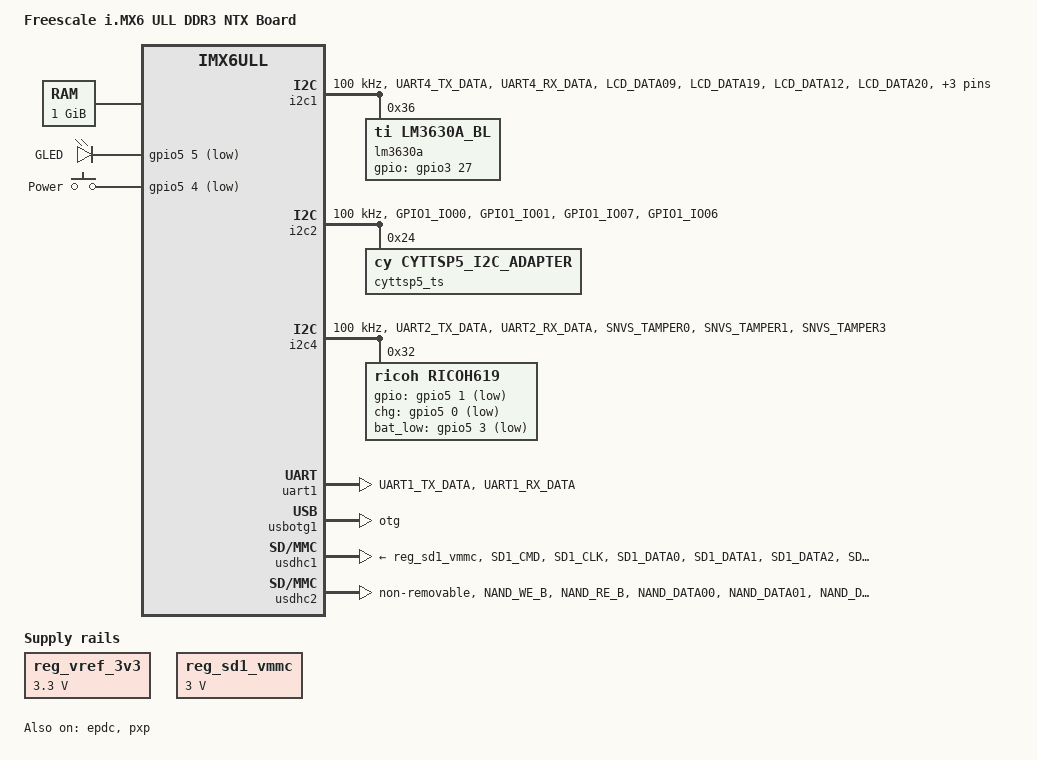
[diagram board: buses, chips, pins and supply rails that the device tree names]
/*
 * Copyright (C) 2016 Freescale Semiconductor, Inc.
 *
 * This program is free software; you can redistribute it and/or modify
 * it under the terms of the GNU General Public License version 2 as
 * published by the Free Software Foundation.
 */

/dts-v1/;

#include <dt-bindings/input/input.h>
#include "imx6ull-ntx.dtsi"

/ {
	model = "Freescale i.MX6 ULL DDR3 NTX Board";
	compatible = "fsl,imx6ull-ddr3-arm2", "fsl,imx6ull";

	chosen {
		stdout-path = &uart1;
	};

	memory {
		reg = <0x80000000 0x40000000>;
	};

	pxp_v4l2 {
		compatible = "fsl,imx6ul-pxp-v4l2", "fsl,imx6sx-pxp-v4l2", "fsl,imx6sl-pxp-v4l2";
		status = "okay";
	};

	aliases {
		mmc0 = &usdhc2;
		mmc1 = &usdhc1;
	};

	regulators {
		compatible = "simple-bus";
		#address-cells = <1>;
		#size-cells = <0>;

		reg_vref_3v3: regulator@1 {
			compatible = "regulator-fixed";
			regulator-name = "vref-3v3";
			regulator-min-microvolt = <3300000>;
			regulator-max-microvolt = <3300000>;
		};
		reg_sd1_vmmc: wifi_regulator {
			compatible = "regulator-fixed";
			regulator-name = "SD1_SPWR";
			regulator-min-microvolt = <3000000>;
			regulator-max-microvolt = <3000000>;
			wifipwr-gpio = <&gpio5 8 GPIO_ACTIVE_LOW>;
			wifirst-gpio = <&gpio5 7 GPIO_ACTIVE_HIGH>;
			wifiint-gpio = <&gpio5 6 GPIO_ACTIVE_HIGH>;
		};
	};

	leds {
		compatible = "gpio-leds";
		pinctrl-names = "default";
		pinctrl-0 = <&pinctrl_snvs_led>;

		user {
			label = "GLED";
			gpios = <&gpio5 5 GPIO_ACTIVE_LOW>;
			linux,default-trigger = "timer";
		};
	};

	gpio-keys {
		compatible = "gpio-keys";
		pinctrl-names = "default";
		pinctrl-0 = <&pinctrl_snvs_gpio_keys>;
		power {
			label = "Power";
			gpios = <&gpio5 4 GPIO_ACTIVE_LOW>;
			btmode0 = <&gpio5 10 GPIO_ACTIVE_LOW>;
			linux,code = <KEY_POWER>;
			gpio-key,wakeup;
		};
	};

	usb_plug {
		compatible = "usb_plug";
	};
	ntx_bl {
		compatible = "ntx_bl";
	};
	ntx_led {
		compatible = "ntx_led";
	};
	ntx_event0 {
		compatible = "ntx_event0";
	};
};

&clks {
	/* For bringup, comments this.
	assigned-clocks = <&clks IMX6UL_CLK_PLL4_AUDIO_DIV>;
	assigned-clock-rates = <786432000>;
	*/
};

&cpu0 {
	/*
	 * on i.MX6ULL, no seperated VDD_ARM_IN and VDD_SOC_IN,
	 * to align with other platform and use the same cpufreq
	 * driver, still use the seperated OPP define for arm
	 * and soc.
	 */
	operating-points = <
		/* kHz	uV */
		900000  1250000
		792000	1200000
		528000	1175000
		396000	1175000
		198000	1175000
	>;
	fsl,soc-operating-points = <
		/* KHz	uV */
		900000  1250000
		792000	1200000
		528000	1175000
		396000	1175000
		198000	1175000
	>;
	arm-supply = <&reg_arm>;
	soc-supply = <&reg_soc>;
/*	arm-supply = <&ricoh619_dcdc1_reg>;*/
/*	soc-supply = <&ricoh619_dcdc1_reg>;*/
/*	fsl,arm-soc-shared = <1>; */
};

&csi {
	status = "disabled";
};

&epdc {
	pinctrl-names = "default";
	pinctrl-0 = <&pinctrl_epdc0>;
	V3P3-supply = <&V3P3_reg>;
	VCOM-supply = <&VCOM_reg>;
	DISPLAY-supply = <&DISPLAY_reg>;
	TMST-supply = <&TMST_reg>;
	status = "okay";
};

&fec1 {
	status = "disabled";
};

&gpc {
	fsl,cpu_pupscr_sw2iso = <0x1>;
	fsl,cpu_pupscr_sw = <0x0>;
	fsl,cpu_pdnscr_iso2sw = <0x1>;
	fsl,cpu_pdnscr_iso = <0x1>;
	fsl,ldo-bypass = <0>; /* use ldo-bypass, u-boot will check it and configure */
};

&gpmi {
	pinctrl-names = "default";
	pinctrl-0 = <&pinctrl_gpmi_nand_1>;
	status = "disabled";
	nand-on-flash-bbt;
};

&i2c1 {
	clock-frequency = <100000>;
	pinctrl-names = "default","sleep";
	pinctrl-0 = <&pinctrl_i2c1 &pinctrl_tps65185_gpio &pinctrl_lm3630a_bl_gpio>;
	pinctrl-1 = <&pinctrl_i2c1_sleep &pinctrl_tps65185_gpio_sleep>;
	status = "okay";

    lm3630a: lm3630a-i2c@36 {
        reg = <0x36>;
        compatible = "ti,lm3630a_bl";
        gpios = <&gpio3 27 0>;
    };
};

&i2c2 {
	clock-frequency = <100000>;
	pinctrl-names = "default","sleep";
	pinctrl-0 = <&pinctrl_i2c2 &pinctrl_elan_ts_gpio>;
	pinctrl-1 = <&pinctrl_i2c2_sleep &pinctrl_elan_ts_gpio_sleep>;
	status = "okay";

	cyttsp5_ts@24 {
        compatible = "cy,cyttsp5_i2c_adapter";
        reg = <0x24>;

        cy,adapter_id = "cyttsp5_i2c_adapter";

        cy,core {
            cy,name = "cyttsp5_core";

            cy,irq_gpio = <7>;    /* <&gpio1 7 0>; */
            cy,rst_gpio = <6>;    /* <&gpio1 6 0>; */

            cy,hid_desc_register = <1>;
            /*CY_CORE_FLAG_RESTORE_PARAMETERS */
            //cy,flags = <4>;
            /* CY_CORE_EWG_NONE */
            cy,easy_wakeup_gesture = <0>;
            cy,btn_keys = <172 /* KEY_HOMEPAGE */
                       /* previously was KEY_HOME, new Android versions use KEY_HOMEPAGE */
                       139 /* KEY_MENU */
                       158 /* KEY_BACK */
                       217 /* KEY_SEARCH */
                       114 /* KEY_VOLUMEDOWN */
                       115 /* KEY_VOLUMEUP */
                       212 /* KEY_CAMERA */
                       116>; /* KEY_POWER */
            cy,btn_keys-tag = <0>;

            cy,mt {
                cy,name = "cyttsp5_mt";

                cy,inp_dev_name = "cyttsp5_mt";
                /* CY_MT_FLAG_INV_Y*/
                /* cy,flags = <0x20>; */
                cy,abs =
                    /* ABS_MT_POSITION_X, CY_ABS_MIN_X, CY_ABS_MAX_X, 0, 0 */
                    <0x35 0 880 0 0
                    /* ABS_MT_POSITION_Y, CY_ABS_MIN_Y, CY_ABS_MAX_Y, 0, 0 */
                    0x36 0 1280 0 0
                    /* ABS_MT_PRESSURE, CY_ABS_MIN_P, CY_ABS_MAX_P, 0, 0 */
                    0x3a 0 255 0 0
                    /* CY_IGNORE_VALUE, CY_ABS_MIN_W, CY_ABS_MAX_W, 0, 0 */
                    0xffff 0 255 0 0
                    /* ABS_MT_TRACKING_ID, CY_ABS_MIN_T, CY_ABS_MAX_T, 0, 0 */
                    0x39 0 15 0 0
                    /* ABS_MT_TOUCH_MAJOR, 0, 255, 0, 0 */
                    0x30 0 255 0 0
                    /* ABS_MT_TOUCH_MINOR, 0, 255, 0, 0 */
                    0x31 0 255 0 0
                    /* ABS_MT_ORIENTATION, -127, 127, 0, 0 */
                    0x34 0xffffff81 127 0 0
                    /* ABS_MT_TOOL_TYPE, 0, MT_TOOL_MAX, 0, 0 */
                    0x37 0 1 0 0
                    /* ABS_MT_DISTANCE, 0, 255, 0, 0 */
                    0x3b 0 255 0 0>;

                cy,vkeys_x = <720>;
                cy,vkeys_y = <1280>;

                cy,virtual_keys = /* KeyCode CenterX CenterY Width Height */
                    /* KEY_BACK */
                    <158 1360 90 160 180
                    /* KEY_MENU */
                    139 1360 270 160 180
                    /* KEY_HOMEPAGE */
                    172 1360 450 160 180
                    /* KEY SEARCH */
                    217 1360 630 160 180>;
            };

            cy,btn {
                cy,name = "cyttsp5_btn";

                cy,inp_dev_name = "cyttsp5_btn";
            };

            cy,proximity {
                cy,name = "cyttsp5_proximity";

                cy,inp_dev_name = "cyttsp5_proximity";
                cy,abs =
                    /* ABS_DISTANCE, CY_PROXIMITY_MIN_VAL, CY_PROXIMITY_MAX_VAL, 0, 0 */
                    <0x19 0 1 0 0>;
            };
        };
    };
};

&i2c4 {
	clock-frequency = <100000>;
	pinctrl-names = "default";
	pinctrl-0 = <&pinctrl_i2c4 &pinctrl_ricoh_gpio>;
	status = "okay";

	ricoh619: ricoh619-i2c@32 {
		reg = <0x32>;
		compatible = "ricoh,ricoh619";
		gpios = <&gpio5 1 GPIO_ACTIVE_LOW>;
		gpio_chg = <&gpio5 0 GPIO_ACTIVE_LOW>;
		gpio_bat_low = <&gpio5 3 GPIO_ACTIVE_LOW>;
		battery {
			ricoh,fg-sus-curr = <5390>;
			ricoh,fg-hiber-curr = <2080>;
		};
	};
};

#include "ricoh619_mx6ull_lpddr3.dtsi"

&iomuxc {
	pinctrl-names = "default", "sleep";

	imx6ul-ddr3-arm2 {
		pinctrl_adc1: adc1grp {
			fsl,pins = <
				MX6UL_PAD_GPIO1_IO00__GPIO1_IO00        0xb0
				MX6UL_PAD_GPIO1_IO01__GPIO1_IO01        0xb0
			>;
		};


		pinctrl_csi1: csi1grp {
			fsl,pins = <
				MX6UL_PAD_CSI_MCLK__CSI_MCLK		0x1b088
				MX6UL_PAD_CSI_PIXCLK__CSI_PIXCLK	0x1b088
				MX6UL_PAD_CSI_VSYNC__CSI_VSYNC		0x1b088
				MX6UL_PAD_CSI_HSYNC__CSI_HSYNC		0x1b088
				MX6UL_PAD_CSI_DATA00__CSI_DATA02	0x1b088
				MX6UL_PAD_CSI_DATA01__CSI_DATA03	0x1b088
				MX6UL_PAD_CSI_DATA02__CSI_DATA04	0x1b088
				MX6UL_PAD_CSI_DATA03__CSI_DATA05	0x1b088
				MX6UL_PAD_CSI_DATA04__CSI_DATA06	0x1b088
				MX6UL_PAD_CSI_DATA05__CSI_DATA07	0x1b088
				MX6UL_PAD_CSI_DATA06__CSI_DATA08	0x1b088
				MX6UL_PAD_CSI_DATA07__CSI_DATA09	0x1b088
			>;
		};

		pinctrl_ecspi1_cs_1: ecspi1_cs_grp-1 {
			fsl,pins = <
				MX6UL_PAD_CSI_DATA05__GPIO4_IO26  0x10b0
			>;
		};

		pinctrl_ecspi1_1: ecspi1grp-1 {
			fsl,pins = <
				MX6UL_PAD_CSI_DATA06__ECSPI1_MOSI 0x10b0
				MX6UL_PAD_CSI_DATA07__ECSPI1_MISO 0x10b0
				MX6UL_PAD_CSI_DATA04__ECSPI1_SCLK 0x10b0
			>;
		};

		pinctrl_enet1: enet1grp {
			fsl,pins = <
				MX6UL_PAD_ENET1_RX_EN__ENET1_RX_EN		0x1b0b0
				MX6UL_PAD_ENET1_RX_ER__ENET1_RX_ER		0x1b0b0
				MX6UL_PAD_ENET1_RX_DATA0__ENET1_RDATA00	0x1b0b0
				MX6UL_PAD_ENET1_RX_DATA1__ENET1_RDATA01	0x1b0b0
				MX6UL_PAD_ENET1_TX_EN__ENET1_TX_EN		0x1b0b0
				MX6UL_PAD_ENET1_TX_DATA0__ENET1_TDATA00	0x1b0b0
				MX6UL_PAD_ENET1_TX_DATA1__ENET1_TDATA01	0x1b0b0
				MX6UL_PAD_ENET1_TX_CLK__ENET1_REF_CLK1	0x4001b0a0
			>;
		};

		pinctrl_enet2: enet2grp {
			fsl,pins = <
				MX6UL_PAD_GPIO1_IO07__ENET2_MDC			0x1b098
				MX6UL_PAD_GPIO1_IO06__ENET2_MDIO		0x1b0b0
				MX6UL_PAD_ENET2_TX_DATA0__ENET2_TDATA00	0x1b0a0
				MX6UL_PAD_ENET2_TX_DATA1__ENET2_TDATA01	0x1b0a0
				MX6UL_PAD_UART4_TX_DATA__ENET2_TDATA02	0x1b0a0
				MX6UL_PAD_UART4_RX_DATA__ENET2_TDATA03	0x1b0a0
				MX6UL_PAD_ENET2_TX_CLK__ENET2_TX_CLK	0x4001b0a8
				MX6UL_PAD_ENET2_TX_EN__ENET2_TX_EN		0x1b0b0
				MX6UL_PAD_ENET2_RX_DATA0__ENET2_RDATA00	0x1b0b0
				MX6UL_PAD_ENET2_RX_DATA1__ENET2_RDATA01	0x1b0b0
				MX6UL_PAD_UART3_TX_DATA__ENET2_RDATA02	0x1b0b0
				MX6UL_PAD_UART3_RX_DATA__ENET2_RDATA03	0x1b0b0
				MX6UL_PAD_ENET2_RX_EN__ENET2_RX_EN		0x1b0b0
				MX6UL_PAD_ENET2_RX_ER__ENET2_RX_ER		0x1b0b0
				MX6UL_PAD_UART3_CTS_B__ENET2_RX_CLK		0x4001b0a8
				MX6UL_PAD_UART5_RX_DATA__ENET2_COL		0x1b0b0
				MX6UL_PAD_UART5_TX_DATA__ENET2_CRS		0x1b0b0
			>;
		};

        pinctrl_epdc0: epdcgrp0 {
            fsl,pins = <
				MX6UL_PAD_ENET2_RX_DATA0__EPDC_SDDO08	0x10b1
				MX6UL_PAD_ENET2_RX_DATA1__EPDC_SDDO09	0x10b1
				MX6UL_PAD_ENET2_RX_EN__EPDC_SDDO10   	0x10b1
				MX6UL_PAD_ENET2_TX_DATA0__EPDC_SDDO11	0x10b1
				MX6UL_PAD_ENET2_TX_DATA1__EPDC_SDDO12	0x10b1
				MX6UL_PAD_ENET2_TX_EN__EPDC_SDDO13   	0x10b1
				MX6UL_PAD_ENET2_TX_CLK__EPDC_SDDO14  	0x10b1
				MX6UL_PAD_ENET2_RX_ER__EPDC_SDDO15   	0x10b1
				MX6UL_PAD_LCD_CLK__EPDC_SDCLK        	0x10b1
				MX6UL_PAD_LCD_ENABLE__EPDC_SDLE      	0x10b1
				MX6UL_PAD_LCD_HSYNC__EPDC_SDOE       	0x10b1
				MX6UL_PAD_LCD_VSYNC__EPDC_SDCE0      	0x10b1
				MX6UL_PAD_LCD_DATA00__EPDC_SDDO00    	0x10b1
				MX6UL_PAD_LCD_DATA01__EPDC_SDDO01    	0x10b1
				MX6UL_PAD_LCD_DATA02__EPDC_SDDO02    	0x10b1
				MX6UL_PAD_LCD_DATA03__EPDC_SDDO03    	0x10b1
				MX6UL_PAD_LCD_DATA04__EPDC_SDDO04    	0x10b1
				MX6UL_PAD_LCD_DATA05__EPDC_SDDO05    	0x10b1
				MX6UL_PAD_LCD_DATA06__EPDC_SDDO06    	0x10b1
				MX6UL_PAD_LCD_DATA07__EPDC_SDDO07    	0x10b1
				MX6UL_PAD_LCD_DATA14__EPDC_SDSHR     	0x10b1
				MX6UL_PAD_LCD_DATA15__EPDC_GDRL      	0x10b1
				MX6UL_PAD_LCD_DATA16__EPDC_GDCLK     	0x10b1
				MX6UL_PAD_LCD_DATA17__EPDC_GDSP      	0x10b1
				MX6UL_PAD_LCD_RESET__EPDC_GDOE       	0x10b1
            >;
        };

		pinctrl_esai: esaigrp {
			fsl,pins = <
				MX6UL_PAD_CSI_DATA00__ESAI_TX_HF_CLK     0x1b0b0
				MX6UL_PAD_CSI_DATA01__ESAI_RX_HF_CLK     0x1b0b0
				MX6UL_PAD_CSI_DATA04__ESAI_TX_FS         0x1b0b0
				MX6UL_PAD_CSI_DATA05__ESAI_TX_CLK        0x1b0b0
				MX6UL_PAD_CSI_DATA07__ESAI_T0            0x1b0b0
				MX6UL_PAD_CSI_HSYNC__ESAI_TX1            0x1b0b0
				MX6UL_PAD_CSI_PIXCLK__ESAI_TX2_RX3       0x1b0b0
				MX6UL_PAD_CSI_MCLK__ESAI_TX3_RX2         0x1b0b0
				MX6UL_PAD_CSI_DATA02__ESAI_RX_FS         0x1b0b0
				MX6UL_PAD_CSI_DATA03__ESAI_RX_CLK        0x1b0b0
				MX6UL_PAD_CSI_DATA06__ESAI_TX5_RX0       0x1b0b0
				MX6UL_PAD_CSI_VSYNC__ESAI_TX4_RX1        0x1b0b0
			>;
		};

		pinctrl_flexcan2: flexcan2grp{
			fsl,pins = <
				MX6UL_PAD_UART2_RTS_B__FLEXCAN2_RX	0x1b020
				MX6UL_PAD_UART2_CTS_B__FLEXCAN2_TX	0x1b020
				MX6UL_PAD_JTAG_TRST_B__GPIO1_IO15	0x17059	/* STBY */
			>;
		};

		pinctrl_gpmi_nand_1: gpmi-nand-1 {
			fsl,pins = <
				MX6UL_PAD_NAND_CLE__RAWNAND_CLE         0xb0b1
				MX6UL_PAD_NAND_ALE__RAWNAND_ALE         0xb0b1
				MX6UL_PAD_NAND_WP_B__RAWNAND_WP_B       0xb0b1
				MX6UL_PAD_NAND_READY_B__RAWNAND_READY_B 0xb000
				MX6UL_PAD_NAND_CE0_B__RAWNAND_CE0_B     0xb0b1
				MX6UL_PAD_NAND_CE1_B__RAWNAND_CE1_B     0xb0b1
				MX6UL_PAD_NAND_RE_B__RAWNAND_RE_B       0xb0b1
				MX6UL_PAD_NAND_WE_B__RAWNAND_WE_B       0xb0b1
				MX6UL_PAD_NAND_DATA00__RAWNAND_DATA00   0xb0b1
				MX6UL_PAD_NAND_DATA01__RAWNAND_DATA01   0xb0b1
				MX6UL_PAD_NAND_DATA02__RAWNAND_DATA02   0xb0b1
				MX6UL_PAD_NAND_DATA03__RAWNAND_DATA03   0xb0b1
				MX6UL_PAD_NAND_DATA04__RAWNAND_DATA04   0xb0b1
				MX6UL_PAD_NAND_DATA05__RAWNAND_DATA05   0xb0b1
				MX6UL_PAD_NAND_DATA06__RAWNAND_DATA06   0xb0b1
				MX6UL_PAD_NAND_DATA07__RAWNAND_DATA07   0xb0b1
			>;
		};

		pinctrl_i2c1: i2c1grp {
			fsl,pins = <
				MX6UL_PAD_UART4_TX_DATA__I2C1_SCL	0x4001F8b0
				MX6UL_PAD_UART4_RX_DATA__I2C1_SDA	0x4001F8b0
			>;
		};

		pinctrl_i2c1_sleep: i2c1grp_sleep {
			fsl,pins = <
				MX6UL_PAD_UART4_TX_DATA__I2C1_SCL	0x400108b0
				MX6UL_PAD_UART4_RX_DATA__I2C1_SDA	0x400108b0
			>;
		};

		pinctrl_i2c2: i2c2grp {
			fsl,pins = <
				MX6UL_PAD_GPIO1_IO00__I2C2_SCL	0x4001F8b0
				MX6UL_PAD_GPIO1_IO01__I2C2_SDA	0x4001F8b0
			>;
		};

		pinctrl_i2c2_sleep: i2c2grp_sleep {
			fsl,pins = <
				MX6UL_PAD_GPIO1_IO00__I2C2_SCL	0x400108b0
				MX6UL_PAD_GPIO1_IO01__I2C2_SDA	0x400108b0
			>;
		};

		pinctrl_i2c4: i2c4grp {
			fsl,pins = <
				MX6UL_PAD_UART2_TX_DATA__I2C4_SCL	0x4001F8b0
				MX6UL_PAD_UART2_RX_DATA__I2C4_SDA	0x4001F8b0
			>;
		};

		pinctrl_i2c4_sleep: i2c4grp_sleep {
			fsl,pins = <
				MX6UL_PAD_UART2_TX_DATA__I2C4_SCL	0x400108b0
				MX6UL_PAD_UART2_RX_DATA__I2C4_SDA	0x400108b0
			>;
		};

		pinctrl_lcdif_dat: lcdifdatgrp {
			fsl,pins = <
				MX6UL_PAD_LCD_DATA00__LCDIF_DATA00  0x79
				MX6UL_PAD_LCD_DATA01__LCDIF_DATA01  0x79
				MX6UL_PAD_LCD_DATA02__LCDIF_DATA02  0x79
				MX6UL_PAD_LCD_DATA03__LCDIF_DATA03  0x79
				MX6UL_PAD_LCD_DATA04__LCDIF_DATA04  0x79
				MX6UL_PAD_LCD_DATA05__LCDIF_DATA05  0x79
				MX6UL_PAD_LCD_DATA06__LCDIF_DATA06  0x79
				MX6UL_PAD_LCD_DATA07__LCDIF_DATA07  0x79
				MX6UL_PAD_LCD_DATA08__LCDIF_DATA08  0x79
				MX6UL_PAD_LCD_DATA09__LCDIF_DATA09  0x79 
				MX6UL_PAD_LCD_DATA10__LCDIF_DATA10  0x79
				MX6UL_PAD_LCD_DATA11__LCDIF_DATA11  0x79 
				MX6UL_PAD_LCD_DATA12__LCDIF_DATA12  0x79
				MX6UL_PAD_LCD_DATA13__LCDIF_DATA13  0x79
				MX6UL_PAD_LCD_DATA14__LCDIF_DATA14  0x79
				MX6UL_PAD_LCD_DATA15__LCDIF_DATA15  0x79
				MX6UL_PAD_LCD_DATA16__LCDIF_DATA16  0x79
				MX6UL_PAD_LCD_DATA17__LCDIF_DATA17  0x79
				MX6UL_PAD_LCD_DATA18__LCDIF_DATA18  0x79
				MX6UL_PAD_LCD_DATA19__LCDIF_DATA19  0x79 
				MX6UL_PAD_LCD_DATA20__LCDIF_DATA20  0x79
				MX6UL_PAD_LCD_DATA21__LCDIF_DATA21  0x79
				MX6UL_PAD_LCD_DATA22__LCDIF_DATA22  0x79
				MX6UL_PAD_LCD_DATA23__LCDIF_DATA23  0x79
			>;
		};

		pinctrl_lcdif_ctrl: lcdifctrlgrp {
			fsl,pins = <
				MX6UL_PAD_LCD_CLK__LCDIF_CLK	    0x79
				MX6UL_PAD_LCD_ENABLE__LCDIF_ENABLE  0x79
				MX6UL_PAD_LCD_HSYNC__LCDIF_HSYNC    0x79
				MX6UL_PAD_LCD_VSYNC__LCDIF_VSYNC    0x79
				MX6UL_PAD_LCD_RESET__LCDIF_RESET    0x79
			>;
		};

		pinctrl_mqs: mqsgrp {
			fsl,pins = <
				MX6UL_PAD_JTAG_TDI__MQS_LEFT         0x11088
				MX6UL_PAD_JTAG_TDO__MQS_RIGHT        0x11088
			>;
		};

		pinctrl_pwm1: pmw1grp {
			fsl,pins = <
				MX6UL_PAD_ENET1_RX_DATA0__PWM1_OUT   0x110b0
			>;
		};

		pinctrl_qspi: qspigrp {
			fsl,pins = <
				MX6UL_PAD_NAND_WP_B__QSPI_A_SCLK      0x70a1
				MX6UL_PAD_NAND_READY_B__QSPI_A_DATA00 0x70a1
				MX6UL_PAD_NAND_CE0_B__QSPI_A_DATA01   0x70a1
				MX6UL_PAD_NAND_CE1_B__QSPI_A_DATA02   0x70a1
				MX6UL_PAD_NAND_CLE__QSPI_A_DATA03     0x70a1
				MX6UL_PAD_NAND_DQS__QSPI_A_SS0_B      0x70a1
#ifdef REWORKED_ENABLE_ALL_QSPI
				MX6UL_PAD_NAND_DATA07__QSPI_A_SS1_B   0x70a1
				MX6UL_PAD_NAND_RE_B__QSPI_B_SCLK      0x70a1
				MX6UL_PAD_NAND_DATA02__QSPI_B_DATA00  0x70a1
				MX6UL_PAD_NAND_DATA03__QSPI_B_DATA01  0x70a1
				MX6UL_PAD_NAND_DATA04__QSPI_B_DATA02  0x70a1
				MX6UL_PAD_NAND_DATA05__QSPI_B_DATA03  0x70a1
				MX6UL_PAD_NAND_WE_B__QSPI_B_SS0_B     0x70a1
				MX6UL_PAD_NAND_DATA00__QSPI_B_SS1_B   0x70a1
#endif
			>;
		};

		pinctrl_sai2: sai2grp {
			fsl,pins = <
				MX6UL_PAD_SD1_DATA0__SAI2_TX_SYNC     0x1b0b0
				MX6UL_PAD_SD1_DATA1__SAI2_TX_BCLK     0x1b0b0
				MX6UL_PAD_SD1_DATA2__SAI2_RX_DATA     0x110b0
				MX6UL_PAD_SD1_DATA3__SAI2_TX_DATA     0x110b0
				MX6UL_PAD_SD1_CLK__SAI2_MCLK          0x1b0b0
			>;
		};

		pinctrl_uart1: uart1grp {
			fsl,pins = <
				MX6UL_PAD_UART1_TX_DATA__UART1_DCE_TX 0x1b0b1
				MX6UL_PAD_UART1_RX_DATA__UART1_DCE_RX 0x1b0b1
			>;
		};

		pinctrl_usb_otg1_id: usbotg1idgrp {
			fsl,pins = <
				MX6UL_PAD_GPIO1_IO00__ANATOP_OTG1_ID	0x17059
			>;
		};

		pinctrl_usb_otg1: usbotg1grp {
			fsl,pins = <
				MX6UL_PAD_GPIO1_IO04__GPIO1_IO04        0x10b0
			>;
		};

		pinctrl_usdhc1: usdhc1grp {
			fsl,pins = <
				MX6UL_PAD_SD1_CMD__USDHC1_CMD     0x11059
				MX6UL_PAD_SD1_CLK__USDHC1_CLK     0x11059
				MX6UL_PAD_SD1_DATA0__USDHC1_DATA0 0x11059
				MX6UL_PAD_SD1_DATA1__USDHC1_DATA1 0x11059
				MX6UL_PAD_SD1_DATA2__USDHC1_DATA2 0x11059
				MX6UL_PAD_SD1_DATA3__USDHC1_DATA3 0x11059
			>;
		};

		pinctrl_usdhc1_sleep: usdhc1grp_sleep {
			fsl,pins = <
				MX6UL_PAD_SD1_CMD__GPIO2_IO16	0x100c1
				MX6UL_PAD_SD1_CLK__GPIO2_IO17	0x100c1
				MX6UL_PAD_SD1_DATA0__GPIO2_IO18	0x100c1
				MX6UL_PAD_SD1_DATA1__GPIO2_IO19	0x100c1
				MX6UL_PAD_SD1_DATA2__GPIO2_IO20	0x100c1
				MX6UL_PAD_SD1_DATA3__GPIO2_IO21	0x100c1
			>;
		};

		pinctrl_usdhc1_100mhz: usdhc1grp100mhz {
			fsl,pins = <
				MX6UL_PAD_SD1_CMD__USDHC1_CMD     0x170b9
				MX6UL_PAD_SD1_CLK__USDHC1_CLK     0x170b9
				MX6UL_PAD_SD1_DATA0__USDHC1_DATA0 0x170b9
				MX6UL_PAD_SD1_DATA1__USDHC1_DATA1 0x170b9
				MX6UL_PAD_SD1_DATA2__USDHC1_DATA2 0x170b9
				MX6UL_PAD_SD1_DATA3__USDHC1_DATA3 0x170b9
			>;
		};

		pinctrl_usdhc1_200mhz: usdhc1grp200mhz {
			fsl,pins = <
				MX6UL_PAD_SD1_CMD__USDHC1_CMD     0x170f9
				MX6UL_PAD_SD1_CLK__USDHC1_CLK     0x170f9
				MX6UL_PAD_SD1_DATA0__USDHC1_DATA0 0x170f9
				MX6UL_PAD_SD1_DATA1__USDHC1_DATA1 0x170f9
				MX6UL_PAD_SD1_DATA2__USDHC1_DATA2 0x170f9
				MX6UL_PAD_SD1_DATA3__USDHC1_DATA3 0x170f9
			>;
		};

		pinctrl_usdhc1_8bit: usdhc1_8bit_grp {
			fsl,pins = <
				MX6UL_PAD_SD1_CMD__USDHC1_CMD     		0x17059
				MX6UL_PAD_SD1_CLK__USDHC1_CLK     		0x10059
				MX6UL_PAD_SD1_DATA0__USDHC1_DATA0 		0x17059
				MX6UL_PAD_SD1_DATA1__USDHC1_DATA1 		0x17059
				MX6UL_PAD_SD1_DATA2__USDHC1_DATA2 		0x17059
				MX6UL_PAD_SD1_DATA3__USDHC1_DATA3 		0x17059
				MX6UL_PAD_NAND_READY_B__USDHC1_DATA4	0x17059
				MX6UL_PAD_NAND_CE0_B__USDHC1_DATA5		0x17059
				MX6UL_PAD_NAND_CE1_B__USDHC1_DATA6		0x17059
				MX6UL_PAD_NAND_CLE__USDHC1_DATA7		0x17059
			>;
		};

		pinctrl_usdhc1_8bit_100mhz: usdhc1_8bit_100mhz_grp {
			fsl,pins = <
				MX6UL_PAD_SD1_CMD__USDHC1_CMD     		0x170b9
				MX6UL_PAD_SD1_CLK__USDHC1_CLK     		0x100b9
				MX6UL_PAD_SD1_DATA0__USDHC1_DATA0 		0x170b9
				MX6UL_PAD_SD1_DATA1__USDHC1_DATA1 		0x170b9
				MX6UL_PAD_SD1_DATA2__USDHC1_DATA2 		0x170b9
				MX6UL_PAD_SD1_DATA3__USDHC1_DATA3 		0x170b9
				MX6UL_PAD_NAND_READY_B__USDHC1_DATA4	0x170b9
				MX6UL_PAD_NAND_CE0_B__USDHC1_DATA5		0x170b9
				MX6UL_PAD_NAND_CE1_B__USDHC1_DATA6		0x170b9
				MX6UL_PAD_NAND_CLE__USDHC1_DATA7		0x170b9
			>;
		};

		pinctrl_usdhc1_8bit_200mhz: usdhc1_8bit_200mhz_grp {
			fsl,pins = <
				MX6UL_PAD_SD1_CMD__USDHC1_CMD     		0x170f9
				MX6UL_PAD_SD1_CLK__USDHC1_CLK     		0x100f9
				MX6UL_PAD_SD1_DATA0__USDHC1_DATA0 		0x170f9
				MX6UL_PAD_SD1_DATA1__USDHC1_DATA1 		0x170f9
				MX6UL_PAD_SD1_DATA2__USDHC1_DATA2 		0x170f9
				MX6UL_PAD_SD1_DATA3__USDHC1_DATA3 		0x170f9
				MX6UL_PAD_NAND_READY_B__USDHC1_DATA4	0x170f9
				MX6UL_PAD_NAND_CE0_B__USDHC1_DATA5		0x170f9
				MX6UL_PAD_NAND_CE1_B__USDHC1_DATA6		0x170f9
				MX6UL_PAD_NAND_CLE__USDHC1_DATA7		0x170f9
			>;
		};

		pinctrl_usdhc1_cd_wp: usdhc1_cd_wp_grp {
			fsl,pins = <
				MX6UL_PAD_UART1_RTS_B__GPIO1_IO19	0x17059	/* SD1 CD */
				MX6UL_PAD_UART1_CTS_B__GPIO1_IO18	0x17059	/* SD1 WP */
			>;
		};

		pinctrl_elan_ts_gpio: elan_ts_gpio_grp {
			fsl,pins = <
				MX6UL_PAD_GPIO1_IO07__GPIO1_IO07		0x17059 /* TP_INT */
				MX6UL_PAD_GPIO1_IO06__GPIO1_IO06		0x10059 /* TP_RST */
			>;
		};

		pinctrl_elan_ts_gpio_sleep: elan_ts_gpio_grp_sleep {
			fsl,pins = <
				MX6UL_PAD_GPIO1_IO07__GPIO1_IO07		0x10059 /* TP_INT */
				MX6UL_PAD_GPIO1_IO06__GPIO1_IO06		0x10059 /* TP_RST */
			>;
		};

		pinctrl_tps65185_gpio: tps65185_gpio_grp {
			fsl,pins = <
				MX6UL_PAD_LCD_DATA09__GPIO3_IO14_SION		0x10059 /* EP_PWRALL */
				MX6UL_PAD_LCD_DATA19__GPIO3_IO24_SION		0x10059 /* VCOM_CTRL0 */
				MX6UL_PAD_LCD_DATA12__GPIO3_IO17_SION		0x10059 /* EP_PWRCTRL0 EP_WAKEUP */
				MX6UL_PAD_LCD_DATA20__GPIO3_IO25_SION		0x10059 /* EP_PWRCTRL1 PWRUP */
				MX6UL_PAD_UART5_RX_DATA__GPIO1_IO31			0x17059 /* EP_PWRSTAT */
				MX6UL_PAD_UART5_TX_DATA__GPIO1_IO30			0x17059 /* EP_INT */
			>;
		};

		pinctrl_tps65185_gpio_sleep: tps65185_gpio_sleep_grp {
			fsl,pins = <
				MX6UL_PAD_LCD_DATA09__GPIO3_IO14_SION		0x10059 /* EP_PWRALL */
				MX6UL_PAD_LCD_DATA19__GPIO3_IO24_SION		0x10059 /* VCOM_CTRL0 */
				MX6UL_PAD_LCD_DATA12__GPIO3_IO17_SION		0x10059 /* EP_PWRCTRL0 EP_WAKEUP */
				MX6UL_PAD_LCD_DATA20__GPIO3_IO25_SION		0x10059 /* EP_PWRCTRL1 PWRUP */
				MX6UL_PAD_UART5_RX_DATA__GPIO1_IO31			0x13059 /* EP_PWRSTAT */
				MX6UL_PAD_UART5_TX_DATA__GPIO1_IO30			0x13059 /* EP_INT */
			>;
		};

		pinctrl_lm3630a_bl_gpio: lm3630a_bl_gpio_grp {
			fsl,pins = <
				MX6UL_PAD_LCD_DATA22__GPIO3_IO27		0x17059 /* FL_EN */
			>;
		};

		pinctrl_usdhc1_vselect: usdhc1_vselect_grp {
			fsl,pins = <
				MX6UL_PAD_GPIO1_IO05__USDHC1_VSELECT	0x17059	/* SD1 VSELECT */
			>;
		};

		pinctrl_usdhc2: usdhc2grp {
			fsl,pins = <
				MX6UL_PAD_NAND_WE_B__USDHC2_CMD	0x17059
				MX6UL_PAD_NAND_RE_B__USDHC2_CLK	0x10059
				MX6UL_PAD_NAND_DATA00__USDHC2_DATA0	0x17059
				MX6UL_PAD_NAND_DATA01__USDHC2_DATA1	0x17059
				MX6UL_PAD_NAND_DATA02__USDHC2_DATA2	0x17059
				MX6UL_PAD_NAND_DATA03__USDHC2_DATA3	0x17059
			>;
		};

		pinctrl_usdhc2_sleep: usdhc2grp_sleep {
			fsl,pins = <
				MX6UL_PAD_NAND_WE_B__USDHC2_CMD	0x10059
				MX6UL_PAD_NAND_RE_B__USDHC2_CLK	0x10059
				MX6UL_PAD_NAND_DATA00__USDHC2_DATA0	0x10059
				MX6UL_PAD_NAND_DATA01__USDHC2_DATA1	0x10059
				MX6UL_PAD_NAND_DATA02__USDHC2_DATA2	0x10059
				MX6UL_PAD_NAND_DATA03__USDHC2_DATA3	0x10059
			>;
		};

		pinctrl_usdhc2_100mhz: usdhc2grp100mhz {
			fsl,pins = <
				MX6UL_PAD_NAND_WE_B__USDHC2_CMD	0x170b9
				MX6UL_PAD_NAND_RE_B__USDHC2_CLK	0x100a9
				MX6UL_PAD_NAND_DATA00__USDHC2_DATA0	0x170a9
				MX6UL_PAD_NAND_DATA01__USDHC2_DATA1	0x170a9
				MX6UL_PAD_NAND_DATA02__USDHC2_DATA2	0x170a9
				MX6UL_PAD_NAND_DATA03__USDHC2_DATA3	0x170a9
			>;
		};

		pinctrl_usdhc2_200mhz: usdhc2grp200mhz {
			fsl,pins = <
				MX6UL_PAD_NAND_WE_B__USDHC2_CMD	0x170f9
				MX6UL_PAD_NAND_RE_B__USDHC2_CLK	0x100f9
				MX6UL_PAD_NAND_DATA00__USDHC2_DATA0	0x170f9
				MX6UL_PAD_NAND_DATA01__USDHC2_DATA1	0x170f9
				MX6UL_PAD_NAND_DATA02__USDHC2_DATA2	0x170f9
				MX6UL_PAD_NAND_DATA03__USDHC2_DATA3	0x170f9
			>;
		};

		pinctrl_usdhc2_rst: usdhc2_rst_grp {
			fsl,pins = <
				MX6UL_PAD_NAND_ALE__GPIO4_IO10          0x17059 /* SD2 RESET */
			>;
		};
	};
};

&iomuxc_snvs {
	imx6ul-ddr3-arm2 {
		pinctrl_snvs_gpio_keys: gpio_snvs_keys_grp {
			fsl,pins = <
				MX6ULL_PAD_SNVS_TAMPER4__GPIO5_IO04	0x17059	/* PWR_SW */
				MX6UL_PAD_BOOT_MODE0__GPIO5_IO10 0x80000000    /* BOOT_MODE0 */
			>;
		};

		pinctrl_snvs_led: led_grp {
			fsl,pins = <
				MX6ULL_PAD_SNVS_TAMPER5__GPIO5_IO05	0x80000000	/* ON_LED */
			>;
		};

		pinctrl_ricoh_gpio: ricoh_gpio_grp {
			fsl,pins = <
				MX6ULL_PAD_SNVS_TAMPER0__GPIO5_IO00		0x17059 /* ricoh619 CHG# */
				MX6ULL_PAD_SNVS_TAMPER1__GPIO5_IO01		0x17059 /* ricoh619 irq */
				MX6ULL_PAD_SNVS_TAMPER3__GPIO5_IO03		0x17059 /* ricoh619 bat_low_irq */
			>;
		};

		pinctrl_usdhc1_pwr: usdhc1_pwr_grp {
			fsl,pins = <
				MX6ULL_PAD_SNVS_TAMPER6__GPIO5_IO06		0x10059	/* WIFI_INT */
				MX6ULL_PAD_SNVS_TAMPER7__GPIO5_IO07		0x10059	/* WIFI_RST */
				MX6ULL_PAD_SNVS_TAMPER8__GPIO5_IO08		0x10059	/* WIFI_3V3_ON */
			>;
		};

	};
};

&lcdif {
	pinctrl-names = "default";
	pinctrl-0 = <&pinctrl_lcdif_dat
  				 &pinctrl_lcdif_ctrl>;
	display = <&display0>;
	status = "disabled";

	display0: display {
		bits-per-pixel = <16>;
		bus-width = <24>;

		display-timings {
			native-mode = <&timing0>;
			timing0: timing0 {
				clock-frequency = <33500000>;
				hactive = <800>;
				vactive = <480>;
				hback-porch = <89>;
				hfront-porch = <164>;
				vback-porch = <23>;
				vfront-porch = <10>;
				hsync-len = <10>;
				vsync-len = <10>;
				hsync-active = <0>;
				vsync-active = <0>;
				de-active = <1>;
				pixelclk-active = <0>;
			};
		};
	};
};

&pwm1 {
	pinctrl-names = "default";
	pinctrl-0 = <&pinctrl_pwm1>;
	status = "disabled";
};

&pxp {
	status = "okay";
};

&qspi {
	pinctrl-names = "default";
	pinctrl-0 = <&pinctrl_qspi>;
	status = "disabled";
#ifdef REWORKED_ENABLE_ALL_QSPI
	fsl,qspi-has-second-chip = <1>;
#endif
	ddrsmp=<0>;
};

&uart1 {
	pinctrl-names = "default";
	pinctrl-0 = <&pinctrl_uart1>;
	status = "okay";
};

&uart2 {
	pinctrl-names = "default";
	fsl,uart-has-rtscts;
	/* for DTE mode, add below change */
	fsl,dte-mode;
	/* pinctrl-0 = <&pinctrl_uart2dte>; */
	status = "disabled";
};

&usbotg1 {
	dr_mode = "otg";
	srp-disable;
	hnp-disable;
	adp-disable;
	status = "okay";
};

&usdhc1 {
	pinctrl-names = "default", "state_100mhz", "state_200mhz", "sleep";
	pinctrl-0 = <&pinctrl_usdhc1>, <&pinctrl_usdhc1_pwr>;
	pinctrl-1 = <&pinctrl_usdhc1_100mhz>;
	pinctrl-2 = <&pinctrl_usdhc1_200mhz>;
	pinctrl-3 = <&pinctrl_usdhc1_sleep>, <&pinctrl_usdhc1_pwr>;
	vmmc-supply = <&reg_sd1_vmmc>;
	wifi-host;
	status = "okay";
};

&usdhc2 {
	pinctrl-names = "default","sleep";
	pinctrl-0 = <&pinctrl_usdhc2>;
	pinctrl-1 = <&pinctrl_usdhc2_sleep>;
	non-removable;
	no-1-8-v;	/* VSELECT not connected by default */
	keep-power-in-suspend;
	status = "okay";
};
